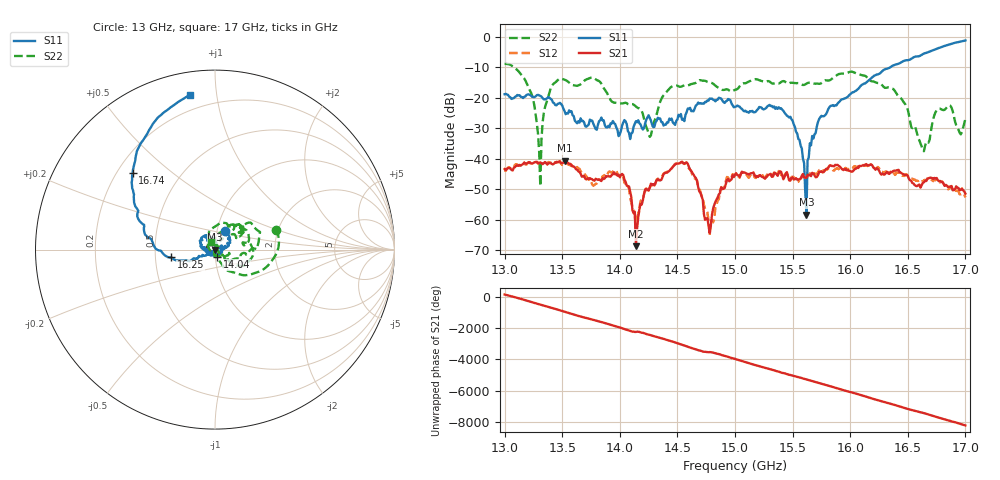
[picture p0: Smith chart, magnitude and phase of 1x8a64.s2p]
!Keysight Technologies,P9374A,MY57211807,A.19.30.04
!Date: Friday, May 08, 2026 14:16:23
!Correction: S11(C  2-Port  )
!S21(C  2-Port  )
!S12(C  2-Port  )
!S22(C  2-Port  )
!S2P File: Measurements: S11, S21, S12, S22:
# Hz S  dB  R 50
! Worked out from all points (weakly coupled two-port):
!   401 points, 13 GHz to 17 GHz, reference 50 ohm
!   highest |S21| = -40.58 dB at 13.52 GHz (marker M1); lowest = -68.6 dB at 14.14 GHz (marker M2)
!   lowest |S11| = -58.3 dB at 15.62 GHz (marker M3), VSWR 1.00, Z = 50.1 - j0.0519 ohm
!   |S11| at or under -10 dB: start of sweep to 16.35 GHz
!   |S22| runs from -48.9 to -8.8 dB; largest |S21 - S12| = 0.0015
!   S11 on the Smith chart (normalised r, x): 13 GHz: 1.09, +0.22; 14.04 GHz: 1.02, -0.08; 16.25 GHz: 0.61, -0.06; 16.74 GHz: 0.26, +0.37; 17 GHz: 0.12, +0.84
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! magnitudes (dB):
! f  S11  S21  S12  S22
! 13 GHz  -18.8  -43.3  -43.7  -8.9
! 13.22 GHz  -19.0  -41.1  -41.4  -17.6
! 13.3 GHz  -19.2  -41.4  -41.2  -37.7
! 13.4 GHz  -20.3  -41.5  -41.2  -16.9
! 13.52 GHz  -24.3  -40.6  -41.2  -14.0
! 13.67 GHz  -27.6  -45.8  -44.6  -15.3
! 14.04 GHz  -27.3  -46.8  -47.8  -21.7
! 14.14 GHz  -27.7  -68.6  -64.5  -22.8
! 14.26 GHz  -26.5  -49.3  -49.4  -32.8
! 14.34 GHz  -26.8  -47.0  -46.7  -22.5
! 14.58 GHz  -24.7  -41.1  -41.5  -15.9
! 14.79 GHz  -20.3  -62.0  -60.9  -15.0
! 15 GHz  -22.9  -45.2  -45.1  -17.4
! 15.42 GHz  -24.2  -46.7  -46.3  -14.5
! 15.52 GHz  -29.5  -46.7  -46.5  -15.2
! 15.62 GHz  -58.3  -46.2  -46.9  -15.4
! 15.67 GHz  -32.5  -44.6  -45.0  -15.2
! 16.25 GHz  -12.1  -43.8  -43.1  -15.1
! 16.34 GHz  -10.2  -44.9  -45.0  -16.6
! 16.63 GHz  -5.7  -47.9  -47.3  -37.3
! 16.74 GHz  -4.1  -46.4  -47.0  -24.7
! 17 GHz  -1.2  -51.4  -52.6  -26.9
